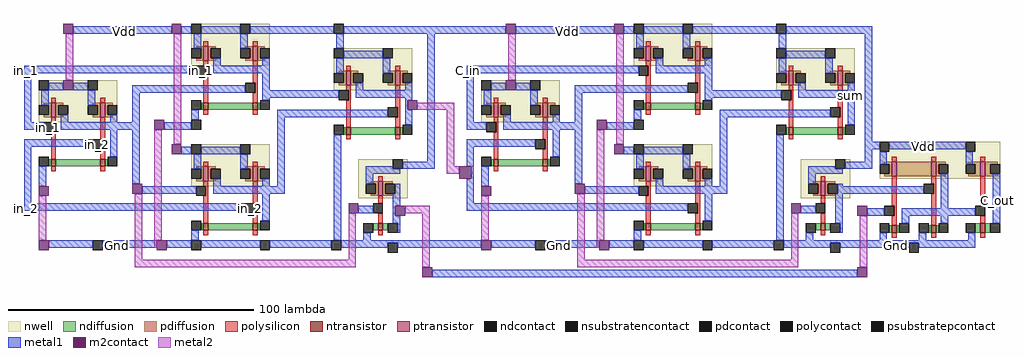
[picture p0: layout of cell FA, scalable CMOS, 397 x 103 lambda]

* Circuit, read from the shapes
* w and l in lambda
.subckt FA C_in C_out Gnd Vdd in_1 in_2 sum
M1 n1 in_1 Gnd Gnd nfet w=3 l=2
M2 n2 in_2 n1 Gnd nfet w=3 l=2
M3 n3 n2 Gnd Gnd nfet w=3 l=2
M4 n4 in_1 Gnd Gnd nfet w=3 l=2
M5 n5 in_2 n3 Gnd nfet w=3 l=2
M6 n6 n2 n4 Gnd nfet w=3 l=2
M7 n7 n6 Gnd Gnd nfet w=3 l=2
M8 n8 n2 Gnd Gnd nfet w=3 l=2
M9 n9 n5 n7 Gnd nfet w=3 l=2
M10 n10 C_in Gnd Gnd nfet w=3 l=2
M11 n11 n9 n10 Gnd nfet w=3 l=2
M12 n12 n11 Gnd Gnd nfet w=3 l=2
M13 n13 C_in Gnd Gnd nfet w=3 l=2
M14 n14 n9 n12 Gnd nfet w=3 l=2
M15 n15 n11 n13 Gnd nfet w=3 l=2
M16 n16 n15 Gnd Gnd nfet w=3 l=2
M17 n17 n11 Gnd Gnd nfet w=3 l=2
M18 sum n14 n16 Gnd nfet w=3 l=2
M19 n18 n8 Gnd Gnd nfet w=3 l=2
M20 n18 n17 Gnd Gnd nfet w=3 l=2
M21 C_out n18 Gnd Gnd nfet w=4 l=2
M22 n2 in_1 Vdd Vdd pfet w=6 l=2
M23 n2 in_2 Vdd Vdd pfet w=6 l=2
M24 n5 n2 Vdd Vdd pfet w=6 l=2
M25 n6 in_1 Vdd Vdd pfet w=6 l=2
M26 n5 in_2 Vdd Vdd pfet w=6 l=2
M27 n6 n2 Vdd Vdd pfet w=6 l=2
M28 n9 n6 Vdd Vdd pfet w=6 l=2
M29 n8 n2 Vdd Vdd pfet w=6 l=2
M30 n9 n5 Vdd Vdd pfet w=6 l=2
M31 n11 C_in Vdd Vdd pfet w=6 l=2
M32 n11 n9 Vdd Vdd pfet w=6 l=2
M33 n14 n11 Vdd Vdd pfet w=6 l=2
M34 n15 C_in Vdd Vdd pfet w=6 l=2
M35 n14 n9 Vdd Vdd pfet w=6 l=2
M36 n15 n11 Vdd Vdd pfet w=6 l=2
M37 sum n15 Vdd Vdd pfet w=6 l=2
M38 n17 n11 Vdd Vdd pfet w=6 l=2
M39 sum n14 Vdd Vdd pfet w=6 l=2
M40 n19 n8 Vdd Vdd pfet w=6 l=2
M41 n18 n17 n19 Vdd pfet w=6 l=2
M42 C_out n18 Vdd Vdd pfet w=6 l=2
.ends

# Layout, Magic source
magic
tech scmos
<< nwell >>
rect 68 86 100 103
rect 6 63 38 80
rect 126 76 158 93
rect 248 86 280 103
rect 186 63 218 80
rect 306 76 338 93
rect 68 37 100 54
rect 136 32 156 48
rect 248 37 280 54
rect 316 32 336 48
rect 348 40 397 55
<< polysilicon >>
rect 73 94 75 96
rect 93 94 95 96
rect 253 94 255 96
rect 273 94 275 96
rect 73 86 75 88
rect 74 82 75 86
rect 11 71 13 73
rect 31 71 33 73
rect 73 71 75 82
rect 93 79 95 88
rect 253 86 255 88
rect 131 84 133 86
rect 151 84 153 86
rect 94 75 95 79
rect 254 82 255 86
rect 131 76 133 78
rect 93 71 95 75
rect 132 72 133 76
rect 73 66 75 68
rect 93 66 95 68
rect 11 63 13 65
rect 12 59 13 63
rect 11 48 13 59
rect 31 56 33 65
rect 131 61 133 72
rect 151 69 153 78
rect 191 71 193 73
rect 211 71 213 73
rect 152 65 153 69
rect 253 71 255 82
rect 273 79 275 88
rect 311 84 313 86
rect 331 84 333 86
rect 274 75 275 79
rect 311 76 313 78
rect 273 71 275 75
rect 312 72 313 76
rect 253 66 255 68
rect 273 66 275 68
rect 151 61 153 65
rect 191 63 193 65
rect 192 59 193 63
rect 131 56 133 58
rect 151 56 153 58
rect 32 52 33 56
rect 31 48 33 52
rect 73 45 75 47
rect 93 45 95 47
rect 11 43 13 45
rect 31 43 33 45
rect 191 48 193 59
rect 211 56 213 65
rect 311 61 313 72
rect 331 69 333 78
rect 332 65 333 69
rect 331 61 333 65
rect 311 56 313 58
rect 331 56 333 58
rect 212 52 213 56
rect 211 48 213 52
rect 253 45 255 47
rect 273 45 275 47
rect 191 43 193 45
rect 211 43 213 45
rect 144 39 146 41
rect 353 47 355 49
rect 369 47 371 49
rect 389 47 391 49
rect 324 39 326 41
rect 73 37 75 39
rect 74 33 75 37
rect 73 22 75 33
rect 93 30 95 39
rect 253 37 255 39
rect 254 33 255 37
rect 144 30 146 33
rect 94 26 95 30
rect 93 22 95 26
rect 144 22 146 26
rect 73 17 75 19
rect 93 17 95 19
rect 144 17 146 19
rect 253 22 255 33
rect 273 30 275 39
rect 324 30 326 33
rect 274 26 275 30
rect 353 29 355 41
rect 369 38 371 41
rect 370 34 371 38
rect 273 22 275 26
rect 324 22 326 26
rect 354 25 355 29
rect 253 17 255 19
rect 273 17 275 19
rect 324 17 326 19
rect 353 21 355 25
rect 369 21 371 34
rect 389 29 391 41
rect 389 22 391 25
rect 353 16 355 18
rect 369 16 371 18
rect 389 16 391 18
<< ndiffusion >>
rect 72 68 73 71
rect 75 68 93 71
rect 95 68 96 71
rect 252 68 253 71
rect 255 68 273 71
rect 275 68 276 71
rect 130 58 131 61
rect 133 58 151 61
rect 153 58 154 61
rect 10 45 11 48
rect 13 45 31 48
rect 33 45 34 48
rect 310 58 311 61
rect 313 58 331 61
rect 333 58 334 61
rect 190 45 191 48
rect 193 45 211 48
rect 213 45 214 48
rect 72 19 73 22
rect 75 19 93 22
rect 95 19 96 22
rect 142 19 144 22
rect 146 19 148 22
rect 252 19 253 22
rect 255 19 273 22
rect 275 19 276 22
rect 322 19 324 22
rect 326 19 328 22
rect 352 18 353 21
rect 355 18 356 21
rect 368 18 369 21
rect 371 18 372 21
rect 387 18 389 22
rect 391 18 393 22
<< pdiffusion >>
rect 70 93 73 94
rect 72 89 73 93
rect 70 88 73 89
rect 75 93 78 94
rect 90 93 93 94
rect 75 89 76 93
rect 92 89 93 93
rect 75 88 78 89
rect 90 88 93 89
rect 95 93 98 94
rect 250 93 253 94
rect 95 89 96 93
rect 252 89 253 93
rect 95 88 98 89
rect 250 88 253 89
rect 255 93 258 94
rect 270 93 273 94
rect 255 89 256 93
rect 272 89 273 93
rect 255 88 258 89
rect 270 88 273 89
rect 275 93 278 94
rect 275 89 276 93
rect 275 88 278 89
rect 8 70 11 71
rect 10 66 11 70
rect 8 65 11 66
rect 13 70 16 71
rect 28 70 31 71
rect 13 66 14 70
rect 30 66 31 70
rect 13 65 16 66
rect 28 65 31 66
rect 33 70 36 71
rect 33 66 34 70
rect 128 83 131 84
rect 130 79 131 83
rect 128 78 131 79
rect 133 83 136 84
rect 148 83 151 84
rect 133 79 134 83
rect 150 79 151 83
rect 133 78 136 79
rect 148 78 151 79
rect 153 83 156 84
rect 153 79 154 83
rect 153 78 156 79
rect 33 65 36 66
rect 188 70 191 71
rect 190 66 191 70
rect 188 65 191 66
rect 193 70 196 71
rect 208 70 211 71
rect 193 66 194 70
rect 210 66 211 70
rect 193 65 196 66
rect 208 65 211 66
rect 213 70 216 71
rect 213 66 214 70
rect 308 83 311 84
rect 310 79 311 83
rect 308 78 311 79
rect 313 83 316 84
rect 328 83 331 84
rect 313 79 314 83
rect 330 79 331 83
rect 313 78 316 79
rect 328 78 331 79
rect 333 83 336 84
rect 333 79 334 83
rect 333 78 336 79
rect 213 65 216 66
rect 70 44 73 45
rect 72 40 73 44
rect 70 39 73 40
rect 75 44 78 45
rect 90 44 93 45
rect 75 40 76 44
rect 92 40 93 44
rect 75 39 78 40
rect 90 39 93 40
rect 95 44 98 45
rect 95 40 96 44
rect 250 44 253 45
rect 95 39 98 40
rect 252 40 253 44
rect 250 39 253 40
rect 255 44 258 45
rect 270 44 273 45
rect 255 40 256 44
rect 272 40 273 44
rect 255 39 258 40
rect 270 39 273 40
rect 275 44 278 45
rect 350 46 353 47
rect 275 40 276 44
rect 352 42 353 46
rect 350 41 353 42
rect 355 41 369 47
rect 371 46 375 47
rect 384 46 389 47
rect 371 42 372 46
rect 387 42 389 46
rect 371 41 375 42
rect 384 41 389 42
rect 391 46 396 47
rect 391 42 393 46
rect 391 41 396 42
rect 275 39 278 40
rect 141 38 144 39
rect 143 34 144 38
rect 141 33 144 34
rect 146 38 150 39
rect 146 34 147 38
rect 146 33 150 34
rect 321 38 324 39
rect 323 34 324 38
rect 321 33 324 34
rect 326 38 330 39
rect 326 34 327 38
rect 326 33 330 34
<< metal1 >>
rect 20 99 60 102
rect 64 99 68 102
rect 72 99 88 102
rect 92 99 126 102
rect 130 99 196 102
rect 200 99 240 102
rect 244 99 248 102
rect 252 99 268 102
rect 272 99 306 102
rect 310 99 345 102
rect 69 93 72 99
rect 88 93 91 99
rect 127 93 130 99
rect 130 89 146 92
rect 77 86 80 89
rect 97 86 100 89
rect 0 83 70 86
rect 0 63 3 83
rect 77 83 100 86
rect 127 83 130 89
rect 146 83 149 89
rect 10 76 16 79
rect 20 76 26 79
rect 7 70 10 76
rect 26 70 29 76
rect 44 75 90 78
rect 97 76 100 83
rect 135 76 138 79
rect 155 76 158 79
rect 15 63 18 66
rect 35 63 38 66
rect 44 63 47 75
rect 97 73 128 76
rect 97 72 100 73
rect 135 73 158 76
rect 155 72 158 73
rect 68 64 71 68
rect 103 65 148 68
rect 155 68 156 72
rect 0 60 8 63
rect 15 60 47 63
rect 57 60 68 63
rect 0 53 28 56
rect 0 30 3 53
rect 35 49 38 60
rect 6 37 9 45
rect 44 38 47 60
rect 64 50 68 53
rect 72 50 88 53
rect 69 44 72 50
rect 88 44 91 50
rect 77 37 80 40
rect 97 37 100 40
rect 103 37 106 65
rect 155 62 158 68
rect 48 34 70 37
rect 77 34 106 37
rect 0 27 90 30
rect 97 23 100 34
rect 68 15 71 19
rect 126 15 129 58
rect 139 44 150 45
rect 164 47 167 99
rect 249 93 252 99
rect 268 93 271 99
rect 307 93 310 99
rect 310 89 326 92
rect 257 86 260 89
rect 277 86 280 89
rect 180 83 250 86
rect 180 63 183 83
rect 257 83 280 86
rect 307 83 310 89
rect 326 83 329 89
rect 190 76 196 79
rect 200 76 206 79
rect 187 70 190 76
rect 206 70 209 76
rect 224 75 270 78
rect 277 76 280 83
rect 315 76 318 79
rect 335 76 338 79
rect 195 63 198 66
rect 215 63 218 66
rect 224 63 227 75
rect 277 73 308 76
rect 277 72 280 73
rect 315 73 338 76
rect 248 64 251 68
rect 283 65 328 68
rect 180 60 188 63
rect 195 60 227 63
rect 237 60 248 63
rect 154 44 167 47
rect 180 53 208 56
rect 180 45 183 53
rect 215 49 218 60
rect 139 42 153 44
rect 139 38 142 42
rect 182 40 183 45
rect 151 34 153 38
rect 136 26 142 29
rect 150 29 153 34
rect 180 30 183 40
rect 186 37 189 45
rect 224 38 227 60
rect 244 50 248 53
rect 252 50 268 53
rect 249 44 252 50
rect 268 44 271 50
rect 257 37 260 40
rect 277 37 280 40
rect 283 37 286 65
rect 335 62 338 73
rect 228 34 250 37
rect 257 34 286 37
rect 150 25 151 29
rect 180 27 270 30
rect 150 22 153 25
rect 277 23 280 34
rect 152 18 153 22
rect 138 15 141 18
rect 248 15 251 19
rect 306 15 309 58
rect 342 55 345 99
rect 342 52 348 55
rect 319 44 330 45
rect 342 47 345 52
rect 334 44 345 47
rect 352 52 383 55
rect 348 46 351 51
rect 383 46 386 51
rect 319 42 333 44
rect 319 38 322 42
rect 331 37 333 38
rect 331 34 366 37
rect 316 26 322 29
rect 330 22 333 34
rect 343 25 350 28
rect 373 28 376 42
rect 357 25 387 28
rect 357 22 360 25
rect 373 22 376 25
rect 394 22 397 42
rect 332 18 333 22
rect 318 15 321 18
rect 348 15 351 18
rect 364 15 367 18
rect 384 15 387 18
rect 10 12 28 15
rect 32 12 54 15
rect 58 12 68 15
rect 72 12 96 15
rect 100 12 125 15
rect 129 14 186 15
rect 129 12 148 14
rect 152 12 186 14
rect 190 12 208 15
rect 212 12 234 15
rect 238 12 248 15
rect 252 12 276 15
rect 280 12 305 15
rect 309 14 387 15
rect 309 12 328 14
rect 332 12 360 14
rect 364 12 387 14
rect 166 0 339 3
<< metal2 >>
rect 17 80 20 99
rect 6 15 9 33
rect 45 7 48 34
rect 53 15 56 60
rect 61 54 64 99
rect 197 80 200 99
rect 160 68 175 71
rect 172 45 175 68
rect 172 42 177 45
rect 182 42 183 45
rect 53 12 54 15
rect 132 7 135 26
rect 155 26 165 29
rect 45 4 135 7
rect 162 4 165 26
rect 186 15 189 33
rect 225 7 228 34
rect 233 15 236 60
rect 241 54 244 99
rect 233 12 234 15
rect 312 7 315 26
rect 225 4 315 7
rect 340 4 343 25
<< ntransistor >>
rect 73 68 75 71
rect 93 68 95 71
rect 253 68 255 71
rect 273 68 275 71
rect 131 58 133 61
rect 151 58 153 61
rect 11 45 13 48
rect 31 45 33 48
rect 311 58 313 61
rect 331 58 333 61
rect 191 45 193 48
rect 211 45 213 48
rect 73 19 75 22
rect 93 19 95 22
rect 144 19 146 22
rect 253 19 255 22
rect 273 19 275 22
rect 324 19 326 22
rect 353 18 355 21
rect 369 18 371 21
rect 389 18 391 22
<< ptransistor >>
rect 73 88 75 94
rect 93 88 95 94
rect 253 88 255 94
rect 273 88 275 94
rect 11 65 13 71
rect 31 65 33 71
rect 131 78 133 84
rect 151 78 153 84
rect 191 65 193 71
rect 211 65 213 71
rect 311 78 313 84
rect 331 78 333 84
rect 73 39 75 45
rect 93 39 95 45
rect 253 39 255 45
rect 273 39 275 45
rect 353 41 355 47
rect 369 41 371 47
rect 389 41 391 47
rect 144 33 146 39
rect 324 33 326 39
<< polycontact >>
rect 70 82 74 86
rect 90 75 94 79
rect 250 82 254 86
rect 128 72 132 76
rect 8 59 12 63
rect 148 65 152 69
rect 270 75 274 79
rect 308 72 312 76
rect 188 59 192 63
rect 28 52 32 56
rect 328 65 332 69
rect 208 52 212 56
rect 70 33 74 37
rect 250 33 254 37
rect 90 26 94 30
rect 142 26 146 30
rect 270 26 274 30
rect 322 26 326 30
rect 366 34 370 38
rect 350 25 354 29
rect 387 25 391 29
<< ndcontact >>
rect 68 68 72 72
rect 96 68 100 72
rect 6 45 10 49
rect 126 58 130 62
rect 248 68 252 72
rect 276 68 280 72
rect 154 58 158 62
rect 34 45 38 49
rect 186 45 190 49
rect 306 58 310 62
rect 334 58 338 62
rect 214 45 218 49
rect 68 19 72 23
rect 96 19 100 23
rect 138 18 142 22
rect 148 18 152 22
rect 248 19 252 23
rect 276 19 280 23
rect 318 18 322 22
rect 328 18 332 22
rect 348 18 352 22
rect 356 18 360 22
rect 364 18 368 22
rect 372 18 376 22
rect 383 18 387 22
rect 393 18 397 22
<< pdcontact >>
rect 68 89 72 93
rect 76 89 80 93
rect 88 89 92 93
rect 96 89 100 93
rect 248 89 252 93
rect 256 89 260 93
rect 268 89 272 93
rect 276 89 280 93
rect 6 66 10 70
rect 14 66 18 70
rect 26 66 30 70
rect 34 66 38 70
rect 126 79 130 83
rect 134 79 138 83
rect 146 79 150 83
rect 154 79 158 83
rect 186 66 190 70
rect 194 66 198 70
rect 206 66 210 70
rect 214 66 218 70
rect 306 79 310 83
rect 314 79 318 83
rect 326 79 330 83
rect 334 79 338 83
rect 68 40 72 44
rect 76 40 80 44
rect 88 40 92 44
rect 96 40 100 44
rect 248 40 252 44
rect 256 40 260 44
rect 268 40 272 44
rect 276 40 280 44
rect 348 42 352 46
rect 372 42 376 46
rect 383 42 387 46
rect 393 42 397 46
rect 139 34 143 38
rect 147 34 151 38
rect 319 34 323 38
rect 327 34 331 38
<< m2contact >>
rect 16 99 20 103
rect 60 99 64 103
rect 196 99 200 103
rect 240 99 244 103
rect 16 76 20 80
rect 156 68 160 72
rect 53 60 57 64
rect 60 50 64 54
rect 6 33 10 37
rect 44 34 48 38
rect 196 76 200 80
rect 233 60 237 64
rect 177 40 182 45
rect 132 26 136 30
rect 240 50 244 54
rect 186 33 190 37
rect 224 34 228 38
rect 151 25 155 29
rect 312 26 316 30
rect 339 25 343 29
rect 6 11 10 15
rect 54 11 58 15
rect 186 11 190 15
rect 234 11 238 15
rect 162 0 166 4
rect 339 0 343 4
<< psubstratepcontact >>
rect 68 60 72 64
rect 248 60 252 64
rect 28 11 32 15
rect 68 11 72 15
rect 96 11 100 15
rect 125 11 129 15
rect 148 10 152 14
rect 208 11 212 15
rect 248 11 252 15
rect 276 11 280 15
rect 305 11 309 15
rect 328 10 332 14
rect 360 10 364 14
<< nsubstratencontact >>
rect 68 99 72 103
rect 88 99 92 103
rect 126 99 130 103
rect 248 99 252 103
rect 268 99 272 103
rect 306 99 310 103
rect 126 89 130 93
rect 146 89 150 93
rect 306 89 310 93
rect 326 89 330 93
rect 6 76 10 80
rect 26 76 30 80
rect 186 76 190 80
rect 206 76 210 80
rect 68 50 72 54
rect 88 50 92 54
rect 150 44 154 48
rect 248 50 252 54
rect 268 50 272 54
rect 348 51 352 55
rect 383 51 387 55
rect 330 44 334 48
<< labels >>
rlabel metal1 218 13 218 13 1 Gnd
rlabel metal1 221 100 221 100 1 Vdd
rlabel metal1 336 74 336 74 1 sum
rlabel metal1 38 13 38 13 1 Gnd
rlabel metal1 41 100 41 100 1 Vdd
rlabel metal1 181 84 181 84 3 C_in
rlabel metal1 355 13 355 13 3 Gnd
rlabel metal1 396 31 396 31 1 C_out
rlabel metal1 366 53 366 53 1 Vdd
rlabel polycontact 72 84 72 84 1 in_1
rlabel polycontact 92 28 92 28 1 in_2
rlabel polycontact 30 54 30 54 1 in_2
rlabel metal1 1 28 1 28 1 in_2
rlabel metal1 1 84 1 84 1 in_1
rlabel polycontact 10 61 10 61 1 in_1
<< end >>
